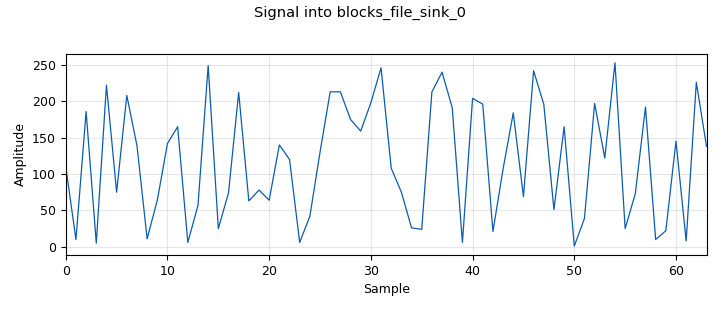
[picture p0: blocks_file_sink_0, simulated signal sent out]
options:
  parameters:
    author: kesenheimer
    generate_options: qt_gui
    id: video_sdl_test
    output_language: python
    realtime_scheduling: '1'
    title: Not titled yet
  states: {}

blocks:
- name: samp_rate
  id: variable
  parameters:
    value: '9216000'
  states: {}
- name: analog_random_source_x_0
  id: analog_random_source_x
  parameters:
    max: '255'
    min: '0'
    num_samps: '1000'
    repeat: 'True'
    type: short
  states: {}
- name: blocks_file_sink_0
  id: blocks_file_sink
  parameters:
    append: 'True'
    file: /Users/kesenheimer/stdout
    type: short
    unbuffered: 'True'
  states: {}
- name: blocks_throttle2_0
  id: blocks_throttle2
  parameters:
    samples_per_second: samp_rate
    type: short
  states: {}
- name: video_sdl_sink_0
  id: video_sdl_sink
  parameters:
    display_height: '300'
    display_width: '400'
    fps: '0'
    height: '480'
    type: short
    width: '640'
  states: {state: disabled}

connections:
- [analog_random_source_x_0, '0', blocks_throttle2_0, '0']
- [blocks_throttle2_0, '0', blocks_file_sink_0, '0']
- [blocks_throttle2_0, '0', video_sdl_sink_0, '0']

metadata:
  file_format: 1
  grc_version: 3.10.8.0
